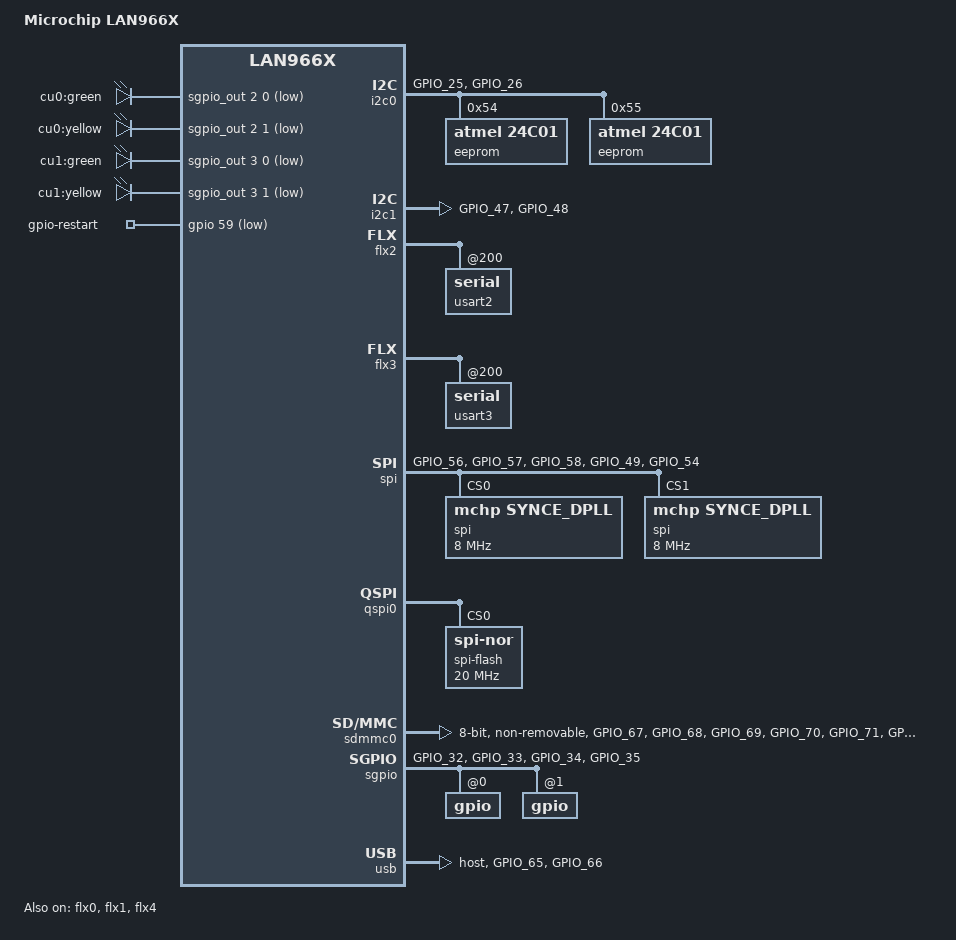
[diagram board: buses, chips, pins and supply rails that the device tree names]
// SPDX-License-Identifier: (GPL-2.0+ OR MIT)
/*
 * lan966x-appl-pcb8385.dts - Device Tree file for PCB8385
 */
/dts-v1/;
#include "lan966x.dtsi"

/ {
	model = "Microchip LAN966X";
	compatible = "microchip,lan966x-sunrise", "microchip,lan966x";

	chosen {
		stdout-path = "serial0:115200n8";
	};

	aliases {
		serial0 = &usart3;
		serial1 = &usart2;
	};

	leds {
		compatible = "gpio-leds";

		led-p1-green {
			label = "cu0:green";
			gpios = <&sgpio_out 2 0 GPIO_ACTIVE_LOW>;
			default-state = "off";
			linux,default-trigger = "e200413c.mdio-mii:01:link";
		};

		led-p1-yellow {
			label = "cu0:yellow";
			gpios = <&sgpio_out 2 1 GPIO_ACTIVE_LOW>;
			default-state = "off";
		};

		led-p2-green {
			label = "cu1:green";
			gpios = <&sgpio_out 3 0 GPIO_ACTIVE_LOW>;
			default-state = "off";
			linux,default-trigger = "e200413c.mdio-mii:02:link";
		};

		led-p2-yellow {
			label = "cu1:yellow";
			gpios = <&sgpio_out 3 1 GPIO_ACTIVE_LOW>;
			default-state = "off";
		};
	};

	gpio-restart {
		compatible = "gpio-restart";
		gpios = <&gpio 59 GPIO_ACTIVE_LOW>;
		open-source;
		priority = <200>;
	};
};

&gpio {
	emmc_sd_pins: emmc-sd-pins {
		/* eMMC_SD - CMD, CLK, D0, D1, D2, D3, RSTN */
		pins = "GPIO_67", "GPIO_68", "GPIO_69", "GPIO_70",
			"GPIO_71", "GPIO_72", "GPIO_77";
		function = "emmc_sd";
	};

	emmc_pins: emmc-pins {
		/* eMMC - D4, D5, D6, D7 */
		pins = "GPIO_73", "GPIO_74", "GPIO_75", "GPIO_76";
		function = "emmc";
	};

	fc0_b_pins: fc0-b-pins {
		/* SCL, SDA */
		pins = "GPIO_25", "GPIO_26";
		function = "fc0_b";
	};

	fc1_c_pins: fc1-c-rxd-pins {
		pins = "GPIO_47", "GPIO_48";
		function = "fc1_c";
	};

	fc2_b_pins: fc2-b-pins {
		/* RX, TX */
		pins = "GPIO_44", "GPIO_45";
		function = "fc2_b";
	};

	fc3_b_pins: fc3-b-pins {
		/* RXD, TXD */
		pins = "GPIO_52", "GPIO_53";
		function = "fc3_b";
	};

	fc4_b_pins: fc4-b-pins {
		/* SCK, MISO, MOSI */
		pins = "GPIO_56", "GPIO_57", "GPIO_58";
		function = "fc4_b";
	};

	sgpio_a_pins: sgpio-a-pins {
		/* SCK, D0, D1, LD */
		pins = "GPIO_32", "GPIO_33", "GPIO_34", "GPIO_35";
		function = "sgpio_a";
	};

	usb_host_a_pins: usb_host_a_pins {
		pins = "GPIO_65", "GPIO_66";
		function = "usb_host_a";
	};

	fc_shrd7_pins: fc-shrd7-pins {
		/* CS1N */
		pins = "GPIO_49";
		function = "fc_shrd7";
	};

	fc_shrd8_pins: fc-shrd8-pins {
		/* CS2N */
		pins = "GPIO_54";
		function = "fc_shrd8";
	};
};

&aes {
	status = "disabled"; /* Reserved by secure OS */
};

&gpio {
	/delete-property/ interrupts;
	/delete-property/ interrupt-controller;
	/delete-property/ #interrupt-cells;
};

&flx0 {
	atmel,flexcom-mode = <ATMEL_FLEXCOM_MODE_TWI>;
	status = "okay";

	i2c0: i2c@600 {
		pinctrl-0 = <&fc0_b_pins>;
		pinctrl-names = "default";
		dmas = <0>, <0>;
		i2c-analog-filter;
		i2c-digital-filter;
		i2c-digital-filter-width-ns = <35>;
		i2c-sda-hold-time-ns = <1500>;
		status = "okay";
	};
};

&flx1 {
	atmel,flexcom-mode = <ATMEL_FLEXCOM_MODE_TWI>;
	status = "okay";

	i2c1: i2c@600 {
		pinctrl-0 = <&fc1_c_pins>;
		pinctrl-names = "default";
		dmas = <0>, <0>;
		i2c-analog-filter;
		i2c-digital-filter;
		i2c-digital-filter-width-ns = <35>;
		i2c-sda-hold-time-ns = <1500>;
		status = "okay";
	};
};

&flx2 {
	atmel,flexcom-mode = <ATMEL_FLEXCOM_MODE_USART>;
	status = "okay";

	usart2: serial@200 {
		pinctrl-0 = <&fc2_b_pins>;
		pinctrl-names = "default";
		status = "okay";
	};
};

&flx3 {
	atmel,flexcom-mode = <ATMEL_FLEXCOM_MODE_USART>;
	status = "okay";

	usart3: serial@200 {
		pinctrl-0 = <&fc3_b_pins>;
		pinctrl-names = "default";
		status = "okay";
	};
};

&flx4 {
	compatible = "microchip,lan966x-flexcom";
	reg = <0xe0070000 0x100>, <0xe2004188 0x8>;
	atmel,flexcom-mode = <ATMEL_FLEXCOM_MODE_SPI>;
	microchip,flx-shrd-pins = <7>, <8>;
	microchip,flx-cs = <0>, <1>;
	status = "okay";

	spi: spi@400 {
		compatible = "atmel,at91rm9200-spi";
		reg = <0x400 0x200>;
		interrupts = <GIC_SPI 52 IRQ_TYPE_LEVEL_HIGH>;
		clocks = <&nic_clk>;
		clock-names = "spi_clk";
		#address-cells = <1>;
		#size-cells = <0>;
		pinctrl-0 = <&fc4_b_pins>, <&fc_shrd7_pins> ,<&fc_shrd8_pins>;
		pinctrl-names = "default";
		atmel,fifo-size = <32>;
		status = "okay";

		spi@0 {
			compatible = "mchp,synce_dpll";
			reg = <0>;
			spi-max-frequency = <8000000>;
		};

		spi@1 {
			compatible = "mchp,synce_dpll";
			reg = <1>;
			spi-max-frequency = <8000000>;
		};
	};
};

&i2c0 {
	eeprom@54 {
		compatible = "atmel,24c01";
		reg = <0x54>;
		status = "okay";
	};

	eeprom@55 {
		compatible = "atmel,24c01";
		reg = <0x55>;
		status = "okay";
	};

	/* UCS2113 at 0x57 */
};

&qspi0 {
	status = "okay";

	spi-flash@0 {
		compatible = "jedec,spi-nor";
		reg = <0>;
		spi-max-frequency = <20000000>;
		#address-cells = <1>;
		#size-cells = <1>;
		spi-tx-bus-width = <4>;
		spi-rx-bus-width = <4>;
		m25p,fast-read;
	};
};

&sdmmc0 {
	bus-width = <8>;
	cap-mmc-highspeed;
	cap-mmc-hw-reset;
	non-removable;
	pinctrl-0 = <&emmc_sd_pins>, <&emmc_pins>;
	pinctrl-names = "default";
	no-1-8-v;
	mmc-ddr-3_3v;
	tx-phase = <0>; /* 180 degrees phase shift */
	status = "okay";
};

&sgpio {
	pinctrl-0 = <&sgpio_a_pins>;
	pinctrl-names = "default";
	microchip,sgpio-port-ranges = <0 3>;
	status = "okay";
	gpio@0 {
		ngpios = <64>;
	};
	gpio@1 {
		ngpios = <64>;
	};
};

&usb {
	dr_mode = "host";
	pinctrl-0 = <&usb_host_a_pins>;
	pinctrl-names = "default";
	status = "okay";
};

&soc {
	lan966x_switch_vtss: switch_vtss@0 {
		compatible = "mchp,lan966x-switch-appl";
		reg = <0xe2008000 0x0000004c>;
		reg-names = "qs";

		interrupts = <GIC_SPI 12 IRQ_TYPE_LEVEL_HIGH>;
		interrupt-names = "xtr";
	};

	ifmux: switch_ifmux@0 {
		compatible = "microchip,lan966x-ifmux";
		status = "okay";
	};
};

&uio0 {
	interrupts = <GIC_SPI 19 IRQ_TYPE_LEVEL_HIGH>,
		     <GIC_SPI 10 IRQ_TYPE_LEVEL_HIGH>,
		     <GIC_SPI 11 IRQ_TYPE_LEVEL_HIGH>,
		     <GIC_SPI  9 IRQ_TYPE_LEVEL_HIGH>,
		     <GIC_SPI 80 IRQ_TYPE_LEVEL_HIGH>,
		     <GIC_SPI 81 IRQ_TYPE_LEVEL_HIGH>,
		     <GIC_SPI 18 IRQ_TYPE_LEVEL_HIGH>,
		     <GIC_SPI 17 IRQ_TYPE_LEVEL_HIGH>;
	interrupt-names = "master", "ptp_sync", "ptp_rdy",
			  "oam_vop", "cu_phy0", "cu_phy1",
			  "sgpio", "gpio";
};
